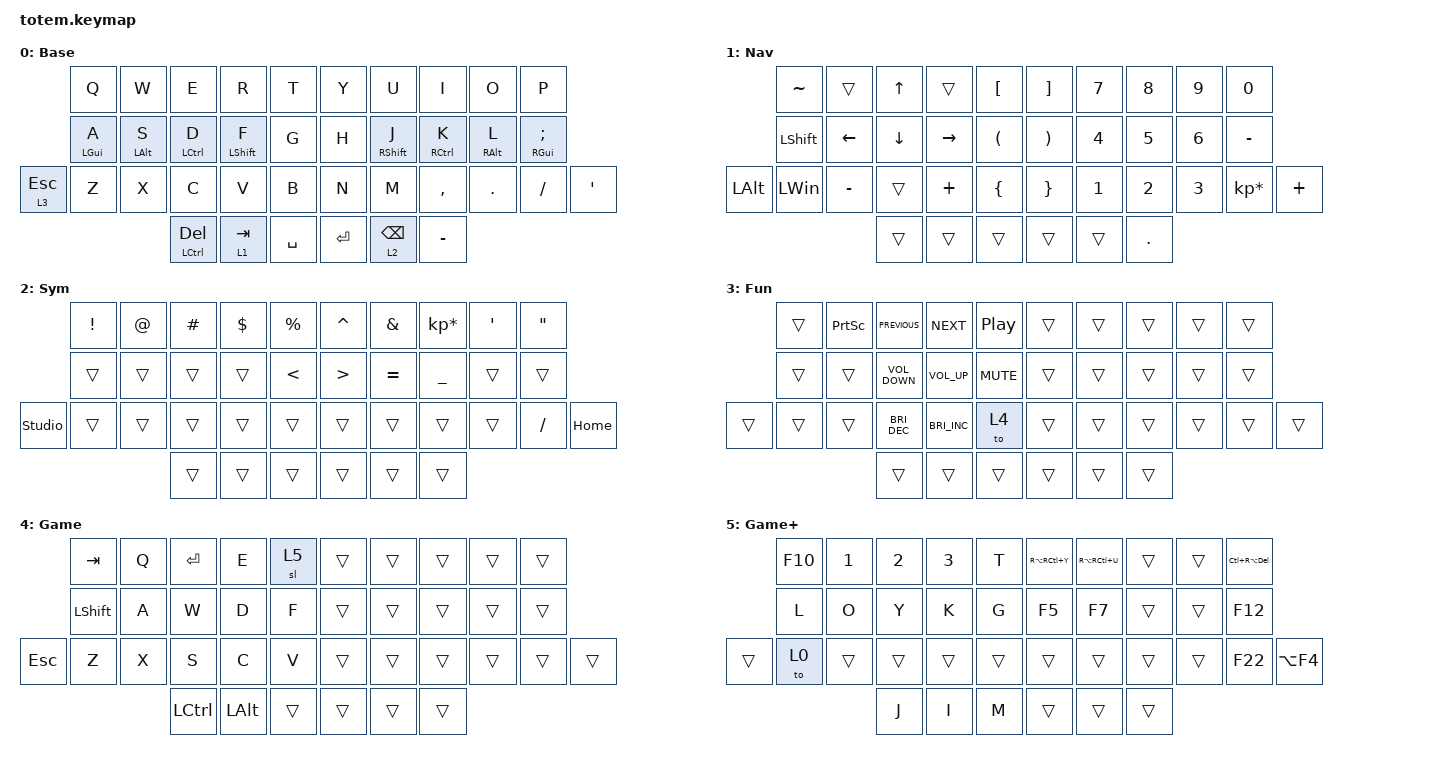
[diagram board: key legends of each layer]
//
//                                                        ▀▀▀▀▀     ▀▀▀▀▀          ▀▀█▀▀
//                                                        ▄▀▀▀▄  ▄  ▄▀▀▀▄  ▄  ▄▀▀▀▄  █  ▄▀▀▀▄
//                                                        █   █  █  █   █  █  █   █  █  █   █
//                                                         ▀▀▀   █   ▀▀▀   █   ▀▀▀   ▀   ▀▀▀
//                                                               █      ▄▄▄█▄▄▄    █   █  
//                                                               ▀      █  █  █     █▄█
//                                                             ▀▀▀▀▀    █  █  █      ▀
//                                                                      ▀  ▀  ▀
//
// ▄▄▄▄▄▄▄▄▄▄▄▄▄▄▄▄▄▄▄▄▄▄▄▄▄▄▄▄▄▄▄▄▄▄▄▄▄▄▄▄▄▄▄▄▄▄▄▄▄▄▄▄▄▄▄▄▄▄▄▄▄▄▄▄▄▄▄▄▄▄▄▄▄▄▄▄▄▄▄▄▄▄▄▄▄▄▄▄▄▄▄▄▄▄▄▄▄▄▄▄▄▄▄▄▄▄▄▄▄▄▄▄▄▄▄▄▄▄▄▄▄▄▄▄▄▄▄▄▄▄▄▄▄▄▄▄▄▄▄▄▄▄▄▄▄▄▄▄▄

#include <behaviors.dtsi>
#include <dt-bindings/zmk/keys.h>

#define Base        0
#define Nav         1
#define Sym         2
#define Fun         3
#define Game        4
#define Gameplus    5

&mt {
    quick-tap-ms = <100>;
    global-quick-tap;
    flavor = "tap-preferred";
    tapping-term-ms = <170>;
};

&lt {
    tapping-term-ms = <240>;
    flavor = "balanced";
    quick-tap-ms = <150>;
};

/ {
    behaviors {
        hm: homerow_mods {
            compatible = "zmk,behavior-hold-tap";
            label = "HOMEROW_MODS";
            #binding-cells = <2>;
            flavor = "tap-preferred";
            tapping-term-ms = <200>;
            quick-tap-ms = <125>;
            global-quick-tap;
            bindings = <&kp>, <&kp>;
        };
    };

    combos { compatible = "zmk,combos"; };

    keymap {
        compatible = "zmk,keymap";

        Base {
            display-name = "Base";
            bindings = <
              &kp Q       &kp W       &kp E          &kp R         &kp T        &kp Y    &kp U        &kp I        &kp O       &kp P
              &hm LGUI A  &hm LALT S  &hm LCTRL D    &hm LSHIFT F  &kp G        &kp H    &hm RSHFT J  &hm RCTRL K  &hm RALT L  &hm RGUI SEMICOLON
&lt 3 ESCAPE  &kp Z       &kp X       &kp C          &kp V         &kp B        &kp N    &kp M        &kp COMMA    &kp DOT     &kp SLASH           &kp APOSTROPHE
                                      &mt LCTRL DEL  &lt 1 TAB     &kp SPACE    &kp RET  &lt 2 BSPC   &kp MINUS
            >;
        };

        Nav {
            display-name = "Nav";
            bindings = <
              &kp TILDE       &trans     &kp UP_ARROW  &trans     &kp LEFT_BRACKET        &kp RIGHT_BRACKET      &kp NUMBER_7  &kp NUMBER_8  &kp NUMBER_9  &kp NUMBER_0
              &kp LEFT_SHIFT  &kp LEFT   &kp DOWN      &kp RIGHT  &kp LEFT_PARENTHESIS    &kp RIGHT_PARENTHESIS  &kp NUMBER_4  &kp NUMBER_5  &kp NUMBER_6  &kp MINUS
&kp LEFT_ALT  &kp LEFT_WIN    &kp MINUS  &trans        &kp PLUS   &kp LEFT_BRACE          &kp RIGHT_BRACE        &kp NUMBER_1  &kp NUMBER_2  &kp NUMBER_3  &kp KP_MULTIPLY  &kp PLUS
                                         &trans        &trans     &trans                  &trans                 &trans        &kp DOT
            >;
        };

        Sym {
            display-name = "Sym";
            bindings = <
                &kp EXCL  &kp AT  &kp HASH  &kp DOLLAR  &kp PERCENT      &kp CARET         &kp AMPERSAND  &kp KP_ASTERISK  &kp SQT  &kp DQT
                &trans    &trans  &trans    &trans      &kp LESS_THAN    &kp GREATER_THAN  &kp EQUAL      &kp UNDER        &trans   &trans
&studio_unlock  &trans    &trans  &trans    &trans      &trans           &trans            &trans         &trans           &trans   &kp SLASH  &kp HOME
                                  &trans    &trans      &trans           &trans            &trans         &trans
            >;
        };

        Fun {
            display-name = "Fun";
            bindings = <
        &trans  &kp PRINTSCREEN  &kp C_PREVIOUS        &kp C_NEXT            &kp C_PLAY_PAUSE    &trans  &trans  &trans  &trans  &trans
        &trans  &trans           &kp C_VOLUME_DOWN     &kp C_VOLUME_UP       &kp K_MUTE          &trans  &trans  &trans  &trans  &trans
&trans  &trans  &trans           &kp C_BRIGHTNESS_DEC  &kp C_BRIGHTNESS_INC  &to 4               &trans  &trans  &trans  &trans  &trans  &trans
                                 &trans                &trans                &trans              &trans  &trans  &trans
            >;
        };

        Gaming {
            display-name = "Game";
            bindings = <
            &kp TAB         &kp Q  &kp ENTER  &kp E         &sl 5     &trans  &trans  &trans  &trans  &trans
            &kp LEFT_SHIFT  &kp A  &kp W      &kp D         &kp F     &trans  &trans  &trans  &trans  &trans
&kp ESCAPE  &kp Z           &kp X  &kp S      &kp C         &kp V     &trans  &trans  &trans  &trans  &trans  &trans
                                   &kp LCTRL  &kp LEFT_ALT  &trans    &trans  &trans  &trans
            >;
        };

        Gaming+ {
            display-name = "Game+";
            bindings = <
        &kp F10  &kp NUMBER_1  &kp NUMBER_2  &kp NUMBER_3  &kp T     &kp RA(RC(Y))  &kp RA(RC(U))  &trans  &trans  &kp LC(RA(DEL))
        &kp L    &kp O         &kp Y         &kp K         &kp G     &kp F5         &kp F7         &trans  &trans  &kp F12
&trans  &to 0    &trans        &trans        &trans        &trans    &trans         &trans         &trans  &trans  &kp F22          &kp LA(F4)
                               &kp J         &kp I         &kp M     &trans         &trans         &trans
            >;
        };
    };
};
